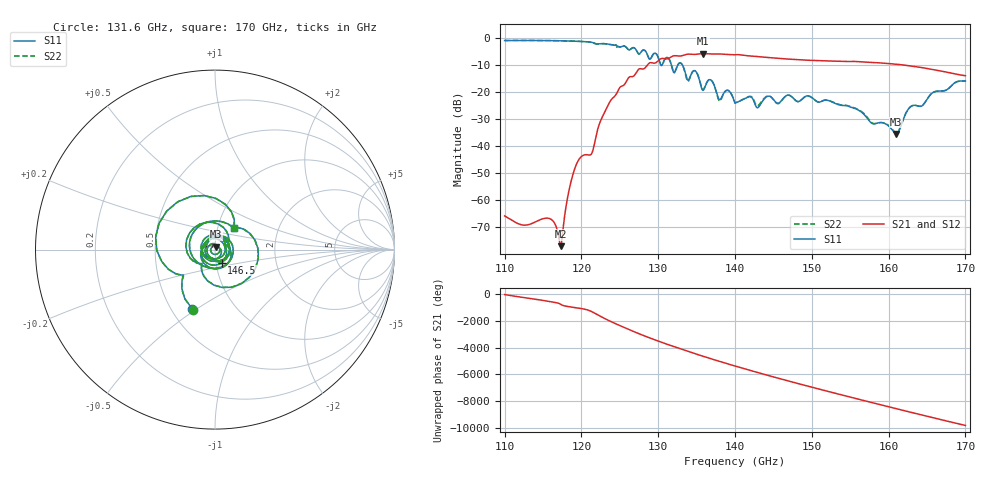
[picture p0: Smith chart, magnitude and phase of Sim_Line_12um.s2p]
! Touchstone file exported from HFSS 2020.2.4
!  File:  D:/Project/Deacon_v3/240214_MPW12_Gap_WG_Tester_D2A/Gap_WG_Tester_D2.aedt
!  Generated:  11:43:58 AM  Mar 20, 2025
!  Design:  Line
!  Project:  Gap_WG_Tester_D2
!  Setup:  Setup1
!  Solution:  Sweep
! Variables:
!  C_G = 12um
!  C_H = 0.5mm
!  Deembedding = 25.4mm
!  E_P = 133um
!  S_H1 = 260um
!  S_H2 = 0.013mm
!  S_H3 = 8um
!  S_X = 30mm
!  S_X0 = 15mm
!  S_Y = 15mm
!  S_Y0 = 7.5mm
!  TL_G = 40um
!  TL_L = 12.1467848662796mm
!  TL_W = 0.24mm
!  TR_L = 706.43026744077um
!  TR_L2 = 226.8691264263um
!  TR_L3 = 373.29154801399um
!  TR_P = 109.62537243288um
!  TR_W = 1597.2041747747um
!  TR_W2 = 282.226541747um
!  V_PBO = 20um
!  V_Pad = 40um
!  V_R = 20um
!  WG_L = 0.8255mm
!  WG_W = 1.651mm
!  th = 5um
!Data is not renormalized
# GHZ S MA
! Terminal data exported
! Port[1] = 1
! Port[2] = 2
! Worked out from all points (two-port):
!   601 points, 110 GHz to 170 GHz, reference per port
!   highest |S21| = -5.82 dB at 135.8 GHz (marker M1); lowest = -76.9 dB at 117.3 GHz (marker M2)
!   |S21| within 3 dB of the highest: 129.9 GHz to 156.2 GHz (26.38 GHz wide, 18.4 % of centre)
!   lowest |S11| = -35.5 dB at 161 GHz (marker M3), VSWR 1.03
!   |S11| at or under -10 dB: 130.3613 GHz to 130.5123 GHz (151 MHz wide, 0.116 % of centre); 131.7 GHz to 132.6 GHz (853.8 MHz wide, 0.646 % of centre); 133.2 GHz to end of sweep
!   |S22| runs from -35.1 to -1.0 dB; largest |S21 - S12| = 2e-14
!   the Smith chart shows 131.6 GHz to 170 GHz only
!   S11 on the Smith chart (normalised r, x): 131.6 GHz: 0.63, -0.48; 146.5 GHz: 1.07, -0.16; 170 GHz: 1.20, +0.29
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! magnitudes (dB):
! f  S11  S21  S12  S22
! 110 GHz  -1.0  -65.8  -65.8  -1.0
! 115.9 GHz  -1.0  -66.8  -66.8  -1.0
! 117.3 GHz  -1.1  -76.9  -76.9  -1.1
! 118.7 GHz  -1.2  -52.5  -52.5  -1.2
! 120 GHz  -1.3  -43.8  -43.8  -1.3
! 121.3 GHz  -1.6  -42.9  -42.9  -1.6
! 122.6 GHz  -2.1  -30.0  -30.0  -2.1
! 125 GHz  -3.4  -18.3  -18.3  -3.4
! 130 GHz  -7.2  -8.5  -8.5  -7.2
! 131.6 GHz  -9.0  -7.2  -7.2  -8.9
! 133.9 GHz  -15.7  -6.0  -6.0  -16.1
! 134.8 GHz  -12.2  -6.1  -6.1  -12.2
! 135.8 GHz  -19.4  -5.8  -5.8  -19.1
! 136.8 GHz  -15.5  -5.9  -5.9  -15.5
! 137.9 GHz  -22.6  -5.9  -5.9  -23.1
! 140 GHz  -24.1  -6.3  -6.3  -24.0
! 146.5 GHz  -21.7  -7.7  -7.7  -21.8
! 150 GHz  -22.0  -8.3  -8.3  -22.0
! 160 GHz  -32.5  -9.5  -9.5  -32.4
! 161 GHz  -35.5  -9.7  -9.7  -35.1
! 162.9 GHz  -25.3  -10.4  -10.4  -25.3
! 170 GHz  -15.9  -14.0  -14.0  -16.0
